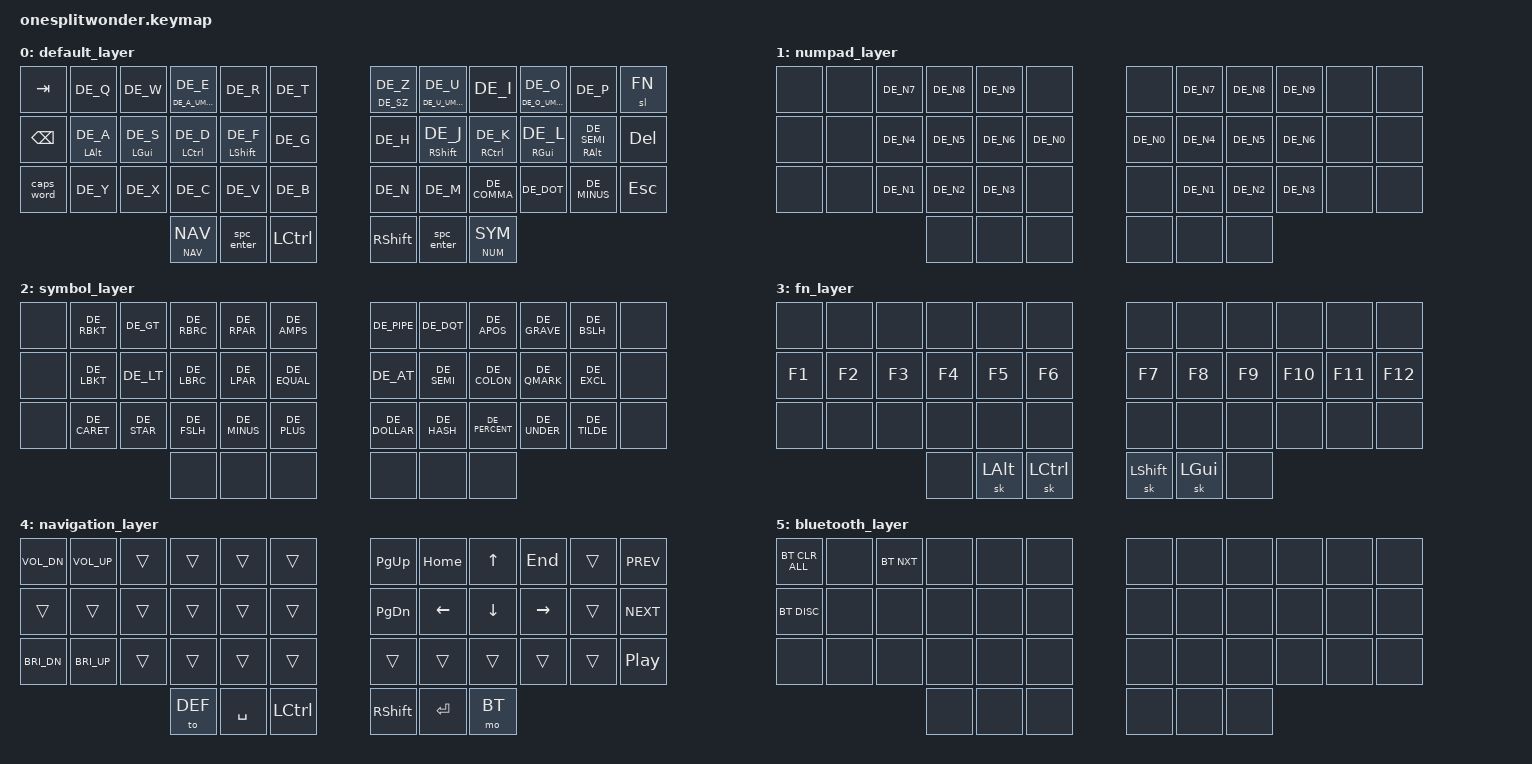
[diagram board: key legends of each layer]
/*
 * Copyright (c) 2020 The ZMK Contributors
 *
 * SPDX-License-Identifier: MIT
 */

#include <behaviors.dtsi>
#include <dt-bindings/zmk/keys.h>
#include <dt-bindings/zmk/bt.h>

#include "keys_de.h"

#include "zmk-helpers/helper.h"
#include "zmk-helpers/key-labels/34.h"
#include "zmk-helpers/unicode-chars/german.dtsi"
//#include "zmk-helpers/umlaute.dtsi"

#define ___ &none

#define DEF 0
#define NUM 1
#define SYM 2
#define FN 3
#define NAV 4
#define BT 5

/ {
    combos {
        compatible = "zmk,combos";
        combo_enter {
            timeout-ms = <50>;
            key-positions = <37 40>;
            bindings = <&kp ENTER>;
        };
    };

    behaviors {
        hml: home_row_mod_left {
            compatible = "zmk,behavior-hold-tap";
            #binding-cells = <2>;
            flavor = "balanced";
            require-prior-idle-ms = <150>;
            tapping-term-ms = <280>;
            quick-tap-ms = <175>;
            bindings = <&kp>, <&kp>;
            hold-trigger-key-positions = <6 7 8 9 10 11 18 19 20 21 22 23 30 31 32 33 34 35 39 40 41>; // right side
            hold-trigger-on-release;
        };

        hmr: home_row_mod_right {
            compatible = "zmk,behavior-hold-tap";
            #binding-cells = <2>;
            flavor = "balanced";
            require-prior-idle-ms = <150>;
            tapping-term-ms = <280>;
            quick-tap-ms = <175>;
            bindings = <&kp>, <&kp>;
            hold-trigger-key-positions = <0 1 2 3 4 5 12 13 14 15 16 17 24 25 26 27 28 29 36 37 38>; // left side
            hold-trigger-on-release;
        };

        mo_sl: behavior_mo_sl {
            compatible = "zmk,behavior-hold-tap";
            #binding-cells = <2>;
            flavor = "hold-preferred";
            tapping-term-ms = <200>;
            bindings = <&mo>, <&sl>;
        };

        mo_to: behavior_mo_to {
            compatible = "zmk,behavior-hold-tap";
            #binding-cells = <2>;
            flavor = "hold-preferred";
            tapping-term-ms = <200>;
            bindings = <&mo>, <&to>;
        };

        ht_uml: ht_uml {
            compatible = "zmk,behavior-hold-tap";
            #binding-cells = <2>;
            flavor = "balanced";
            tapping-term-ms = <200>;
            bindings = <&kp>, <&kp>;
        };

        spc_enter: spc_enter {
            compatible = "zmk,behavior-mod-morph";
            #binding-cells = <0>;
            bindings = <&kp SPACE>, <&kp ENTER>;
            mods = <(MOD_LSFT|MOD_RSFT)>;
        };
    };

    keymap {
        compatible = "zmk,keymap";

        default_layer {
            bindings = <
// ╭─────────┬──────────┬────────────┬────────────┬────────────┬──────────╮╭─────────┬────────────┬────────────┬────────────┬────────────┬────────╮
    &kp TAB &kp DE_Q &kp DE_W &ht_uml DE_A_UMLAUT DE_E &kp DE_R  &kp DE_T   &ht_uml DE_SZ DE_Z   &ht_uml DE_U_UMLAUT DE_U &kp DE_I &ht_uml DE_O_UMLAUT DE_O &kp DE_P  &sl FN
// ├─────────┼──────────┼────────────┼────────────┼────────────┼──────────┤├─────────┼────────────┼────────────┼────────────┼────────────┼────────┤
    &kp BSPC &hml LALT DE_A &hml LGUI DE_S &hml LCTRL DE_D &hml LSHFT DE_F &kp DE_G &kp DE_H &hmr RSHFT DE_J &hmr RCTRL DE_K &hmr RGUI DE_L &hmr RALT DE_SEMI  &kp DEL
// ├─────────┼──────────┼────────────┼────────────┼────────────┼──────────┤├─────────┼────────────┼────────────┼────────────┼────────────┼────────┤
   &caps_word   &kp DE_Y   &kp DE_X   &kp DE_C   &kp DE_V   &kp DE_B          &kp DE_N   &kp DE_M   &kp DE_COMMA  &kp DE_DOT  &kp DE_MINUS   &kp ESC
// ╰────────────────────────────────┼────────────┼────────────┼──────────┤  ╰─────────┼────────────┼────────────┼──────────────────────────────────╯
                                    &mo_to NAV NAV  &spc_enter  &kp LCTRL     &kp RSHIFT &spc_enter &mo_sl NUM SYM
//                                  ╰────────────┴────────────┴──────────╯  ╰─────────┴───────────┴────────────╯
            >;
        };

        numpad_layer {
            bindings = <
// ╭─────────┬──────────┬──────────┬──────────┬──────────┬──────────╮  ╭──────────┬──────────┬──────────┬──────────┬──────────┬──────────╮
       ___      ___       &kp DE_N7  &kp DE_N8  &kp DE_N9   ___            ___      &kp DE_N7  &kp DE_N8  &kp DE_N9   ___        ___
// ├─────────┼──────────┼──────────┼──────────┼──────────┼──────────┤  ├──────────┼──────────┼──────────┼──────────┼──────────┼──────────┤
       ___      ___       &kp DE_N4  &kp DE_N5  &kp DE_N6  &kp DE_N0    &kp DE_N0   &kp DE_N4  &kp DE_N5  &kp DE_N6   ___        ___
// ├─────────┼──────────┼──────────┼──────────┼──────────┼──────────┤  ├──────────┼──────────┼──────────┼──────────┼──────────┼──────────┤
       ___      ___       &kp DE_N1  &kp DE_N2  &kp DE_N3   ___            ___      &kp DE_N1  &kp DE_N2  &kp DE_N3   ___        ___
// ╰───────────────────────────────┼──────────┼──────────┼──────────┤  ╰──────────┼──────────┼──────────┼────────────────────────────────╯
                                     ___        ___        ___             ___        ___        ___
//                              ╰─────────────┴──────────┴──────────╯  ╰──────────┴──────────┴──────────╯
            >;
        };

        symbol_layer {
            bindings = <
// ╭─────────┬──────────┬──────────┬──────────┬──────────┬──────────╮  ╭──────────┬──────────┬──────────┬──────────┬──────────┬──────────╮
       ___      &kp DE_RBKT   &kp DE_GT     &kp DE_RBRC   &kp DE_RPAR   &kp DE_AMPS       &kp DE_PIPE   &kp DE_DQT    &kp DE_APOS   &kp DE_GRAVE  &kp DE_BSLH   ___
// ├─────────┼──────────┼──────────┼──────────┼──────────┼──────────┤  ├──────────┼──────────┼──────────┼──────────┼──────────┼──────────┤
       ___      &kp DE_LBKT   &kp DE_LT     &kp DE_LBRC   &kp DE_LPAR   &kp DE_EQUAL      &kp DE_AT     &kp DE_SEMI   &kp DE_COLON  &kp DE_QMARK  &kp DE_EXCL   ___
// ├─────────┼──────────┼──────────┼──────────┼──────────┼──────────┤  ├──────────┼──────────┼──────────┼──────────┼──────────┼──────────┤
       ___      &kp DE_CARET  &kp DE_STAR   &kp DE_FSLH   &kp DE_MINUS  &kp DE_PLUS       &kp DE_DOLLAR &kp DE_HASH   &kp DE_PERCENT &kp DE_UNDER &kp DE_TILDE  ___
// ╰───────────────────────────────┼──────────┼──────────┼──────────┤  ╰──────────┼──────────┼──────────┼────────────────────────────────╯
                                  ___        ___        ___                 ___        ___        ___
//                            ╰─────────────┴──────────┴──────────╯        ╰──────────┴──────────┴──────────╯
            >;
        };


        fn_layer {
            bindings = <
// ╭─────────┬──────────┬──────────┬──────────┬──────────┬──────────╮  ╭──────────┬──────────┬──────────┬──────────┬──────────┬──────────╮
       ___      ___       ___           ___       ___       ___            ___      ___         ___          ___       ___       ___
// ├─────────┼──────────┼──────────┼──────────┼──────────┼──────────┤  ├──────────┼──────────┼──────────┼──────────┼──────────┼──────────┤
   &kp F1     &kp F2      &kp F3      &kp F4      &kp F5      &kp F6        &kp F7     &kp F8     &kp F9     &kp F10    &kp F11    &kp F12
// ├─────────┼──────────┼──────────┼──────────┼──────────┼──────────┤  ├──────────┼──────────┼──────────┼──────────┼──────────┼──────────┤
       ___      ___       ___           ___       ___       ___            ___      ___         ___          ___       ___       ___
// ╰──────────────────────────────┼──────────┼──────────┼──────────┤  ╰──────────┼──────────┼──────────┼──────────────────────────────────╯
                                    ___        &sk LALT   &sk LCTRL     &sk LSHIFT  &sk LGUI     ___
//                             ╰─────────────┴──────────┴──────────╯   ╰──────────┴──────────┴──────────╯
            >;
        };


        navigation_layer {
            bindings = <
// ╭─────────┬──────────┬──────────┬──────────┬──────────┬──────────╮  ╭─────────────┬──────────┬──────────┬───────────┬──────────┬─────────────╮
    &kp C_VOL_DN &kp C_VOL_UP  &trans  &trans    &trans    &trans         &kp PG_UP    &kp HOME   &kp UP     &kp END     &trans     &kp C_PREV
// ├─────────┼──────────┼──────────┼──────────┼──────────┼──────────┤  ├─────────────┼──────────┼──────────┼───────────┼──────────┼─────────────┤
       &trans   &trans      &trans    &trans     &trans    &trans         &kp PG_DN    &kp LEFT   &kp DOWN   &kp RIGHT    &trans     &kp C_NEXT
// ├─────────┼──────────┼──────────┼──────────┼──────────┼──────────┤  ├─────────────┼──────────┼──────────┼───────────┼──────────┼─────────────┤
    &kp C_BRI_DN  &kp C_BRI_UP &trans &trans     &trans    &trans         &trans       &trans      &trans      &trans    &trans     &kp C_PLAY_PAUSE
// ╰───────────────────────────────┼──────────┼──────────┼──────────┤  ╰─────────────┼──────────┼──────────┼────────────────────────────────────╯
                                     &to DEF    &kp SPACE  &kp LCTRL      &kp RSHIFT    &kp ENTER   &mo BT 
//                                 ╰──────────┴──────────┴──────────╯  ╰─────────────┴──────────┴──────────╯
            >;
        };

        bluetooth_layer {
            bindings = <
// ╭─────────────┬──────────┬────────────┬──────────┬──────────┬──────────╮  ╭──────────┬──────────┬──────────┬──────────┬──────────┬──────────╮
   &bt BT_CLR_ALL    ___      &bt BT_NXT     ___        ___        ___            ___        ___        ___        ___        ___        ___
// ├─────────────┼──────────┼────────────┼──────────┼──────────┼──────────┤  ├──────────┼──────────┼──────────┼──────────┼──────────┼──────────┤
   &bt BT_DISC       ___         ___         ___        ___        ___            ___        ___        ___        ___        ___        ___
// ├─────────────┼──────────┼────────────┼──────────┼──────────┼──────────┤  ├──────────┼──────────┼──────────┼──────────┼──────────┼──────────┤
        ___          ___         ___         ___        ___        ___            ___        ___        ___        ___        ___        ___
// ╰─────────────────────────────────────┼──────────┼──────────┼──────────┤  ╰──────────┼──────────┼──────────┼────────────────────────────────╯
                                             ___        ___        ___            ___        ___        ___
//                                       ╰──────────┴──────────┴──────────╯  ╰──────────┴──────────┴──────────╯
            >;
        };
    };
};
